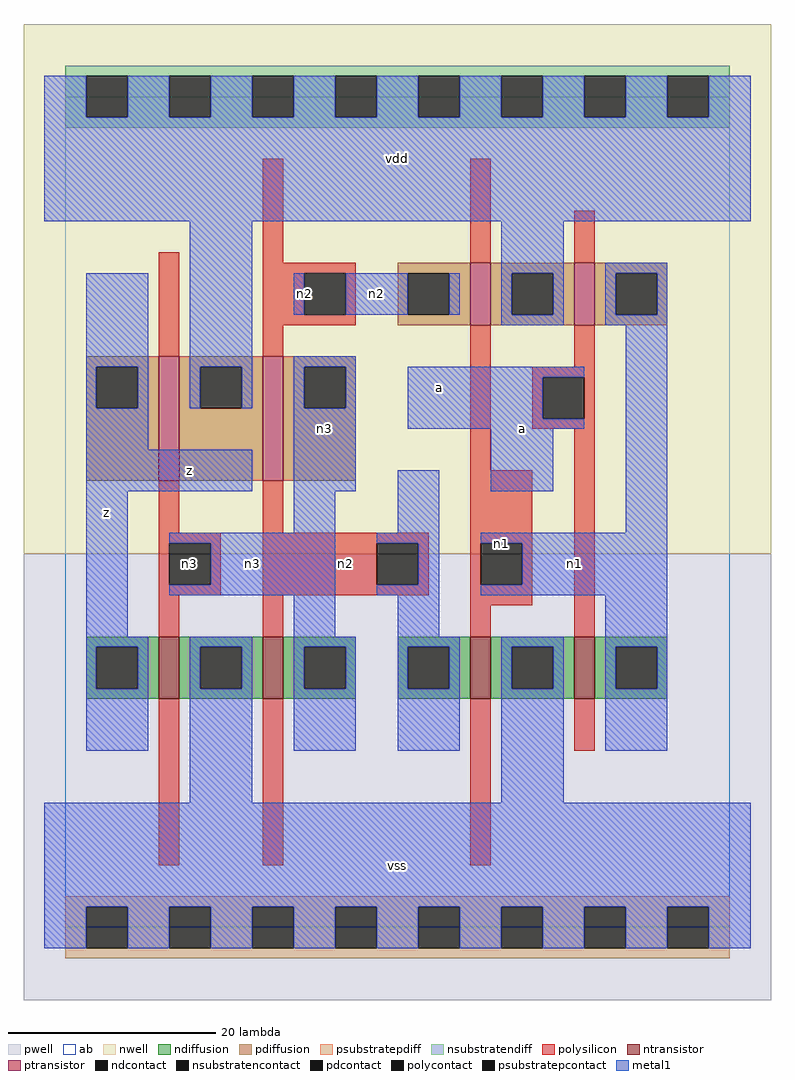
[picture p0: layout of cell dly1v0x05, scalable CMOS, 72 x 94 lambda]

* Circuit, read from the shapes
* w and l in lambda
.subckt dly1v0x05 a n1 n2 n3 vdd vss z
M1 vss n3 z vss nfet w=6 l=2
M2 n3 n2 vss vss nfet w=6 l=2
M3 vss n1 n2 vss nfet w=6 l=2
M4 n1 a vss vss nfet w=6 l=2
M5 vdd n3 z vdd pfet w=12 l=2
M6 n3 n2 vdd vdd pfet w=12 l=2
M7 vdd n1 n2 vdd pfet w=6 l=2
M8 n1 a vdd vdd pfet w=6 l=2
.ends

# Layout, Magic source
magic
tech scmos
<< ab >>
rect 0 0 64 80
<< pwell >>
rect -4 -7 68 36
<< nwell >>
rect -4 36 68 87
<< polysilicon >>
rect 9 55 11 65
rect 19 64 21 74
rect 39 64 41 74
rect 49 64 51 69
rect 19 63 28 64
rect 19 59 23 63
rect 27 59 28 63
rect 19 58 28 59
rect 19 55 21 58
rect 39 44 41 58
rect 49 54 51 58
rect 45 53 51 54
rect 45 49 46 53
rect 50 49 51 53
rect 45 48 51 49
rect 9 38 11 43
rect 19 38 21 43
rect 9 37 15 38
rect 9 33 10 37
rect 14 33 15 37
rect 9 32 15 33
rect 19 37 35 38
rect 19 33 30 37
rect 34 33 35 37
rect 19 32 35 33
rect 39 37 45 44
rect 39 33 40 37
rect 44 33 45 37
rect 9 28 11 32
rect 19 28 21 32
rect 39 31 45 33
rect 39 28 41 31
rect 49 28 51 48
rect 9 6 11 22
rect 19 6 21 22
rect 39 6 41 22
rect 49 17 51 22
<< ndiffusion >>
rect 2 27 9 28
rect 2 23 3 27
rect 7 23 9 27
rect 2 22 9 23
rect 11 27 19 28
rect 11 23 13 27
rect 17 23 19 27
rect 11 22 19 23
rect 21 27 28 28
rect 21 23 23 27
rect 27 23 28 27
rect 21 22 28 23
rect 32 27 39 28
rect 32 23 33 27
rect 37 23 39 27
rect 32 22 39 23
rect 41 27 49 28
rect 41 23 43 27
rect 47 23 49 27
rect 41 22 49 23
rect 51 27 58 28
rect 51 23 53 27
rect 57 23 58 27
rect 51 22 58 23
<< pdiffusion >>
rect 32 63 39 64
rect 32 59 33 63
rect 37 59 39 63
rect 32 58 39 59
rect 41 63 49 64
rect 41 59 43 63
rect 47 59 49 63
rect 41 58 49 59
rect 51 63 58 64
rect 51 59 53 63
rect 57 59 58 63
rect 51 58 58 59
rect 2 54 9 55
rect 2 50 3 54
rect 7 50 9 54
rect 2 43 9 50
rect 11 54 19 55
rect 11 50 13 54
rect 17 50 19 54
rect 11 43 19 50
rect 21 54 28 55
rect 21 50 23 54
rect 27 50 28 54
rect 21 43 28 50
<< metal1 >>
rect -2 78 2 82
rect 6 78 10 82
rect 14 78 18 82
rect 22 78 26 82
rect 30 78 34 82
rect 38 78 42 82
rect 46 78 50 82
rect 54 78 58 82
rect 62 78 66 82
rect -2 68 66 78
rect 2 54 8 63
rect 2 50 3 54
rect 7 50 8 54
rect 12 54 18 68
rect 42 63 48 68
rect 22 59 23 63
rect 27 59 33 63
rect 37 59 38 63
rect 42 59 43 63
rect 47 59 48 63
rect 42 58 48 59
rect 52 63 58 64
rect 52 59 53 63
rect 57 59 58 63
rect 52 58 58 59
rect 12 50 13 54
rect 17 50 18 54
rect 22 54 28 55
rect 22 50 23 54
rect 27 50 28 54
rect 2 46 8 50
rect 2 42 18 46
rect 22 42 28 50
rect 33 53 50 54
rect 33 49 46 53
rect 33 48 50 49
rect 2 28 6 42
rect 22 38 26 42
rect 32 38 36 44
rect 41 42 47 48
rect 54 38 58 58
rect 10 37 26 38
rect 14 33 26 37
rect 10 32 26 33
rect 30 37 36 38
rect 34 33 36 37
rect 30 32 36 33
rect 40 37 58 38
rect 44 33 58 37
rect 40 32 58 33
rect 22 28 26 32
rect 32 28 36 32
rect 2 27 8 28
rect 2 23 3 27
rect 7 23 8 27
rect 2 17 8 23
rect 12 27 18 28
rect 12 23 13 27
rect 17 23 18 27
rect 12 12 18 23
rect 22 27 28 28
rect 22 23 23 27
rect 27 23 28 27
rect 22 17 28 23
rect 32 27 38 28
rect 32 23 33 27
rect 37 23 38 27
rect 32 17 38 23
rect 42 27 48 28
rect 42 23 43 27
rect 47 23 48 27
rect 42 12 48 23
rect 52 27 58 32
rect 52 23 53 27
rect 57 23 58 27
rect 52 17 58 23
rect -2 2 66 12
rect -2 -2 2 2
rect 6 -2 10 2
rect 14 -2 18 2
rect 22 -2 26 2
rect 30 -2 34 2
rect 38 -2 42 2
rect 46 -2 50 2
rect 54 -2 58 2
rect 62 -2 66 2
<< ntransistor >>
rect 9 22 11 28
rect 19 22 21 28
rect 39 22 41 28
rect 49 22 51 28
<< ptransistor >>
rect 39 58 41 64
rect 49 58 51 64
rect 9 43 11 55
rect 19 43 21 55
<< polycontact >>
rect 23 59 27 63
rect 46 49 50 53
rect 10 33 14 37
rect 30 33 34 37
rect 40 33 44 37
<< ndcontact >>
rect 3 23 7 27
rect 13 23 17 27
rect 23 23 27 27
rect 33 23 37 27
rect 43 23 47 27
rect 53 23 57 27
<< pdcontact >>
rect 33 59 37 63
rect 43 59 47 63
rect 53 59 57 63
rect 3 50 7 54
rect 13 50 17 54
rect 23 50 27 54
<< psubstratepcontact >>
rect 2 -2 6 2
rect 10 -2 14 2
rect 18 -2 22 2
rect 26 -2 30 2
rect 34 -2 38 2
rect 42 -2 46 2
rect 50 -2 54 2
rect 58 -2 62 2
<< nsubstratencontact >>
rect 2 78 6 82
rect 10 78 14 82
rect 18 78 22 82
rect 26 78 30 82
rect 34 78 38 82
rect 42 78 46 82
rect 50 78 54 82
rect 58 78 62 82
<< psubstratepdiff >>
rect 0 2 64 3
rect 0 -2 2 2
rect 6 -2 10 2
rect 14 -2 18 2
rect 22 -2 26 2
rect 30 -2 34 2
rect 38 -2 42 2
rect 46 -2 50 2
rect 54 -2 58 2
rect 62 -2 64 2
rect 0 -3 64 -2
<< nsubstratendiff >>
rect 0 82 64 83
rect 0 78 2 82
rect 6 78 10 82
rect 14 78 18 82
rect 22 78 26 82
rect 30 78 34 82
rect 38 78 42 82
rect 46 78 50 82
rect 54 78 58 82
rect 62 78 64 82
rect 0 77 64 78
<< labels >>
rlabel polycontact 12 35 12 35 6 n3
rlabel polysilicon 27 35 27 35 6 n2
rlabel polysilicon 23 61 23 61 6 n2
rlabel polysilicon 42 37 42 37 6 n1
rlabel metal1 4 40 4 40 6 z
rlabel metal1 12 44 12 44 6 z
rlabel metal1 32 6 32 6 6 vss
rlabel metal1 18 35 18 35 6 n3
rlabel metal1 36 52 36 52 6 a
rlabel metal1 25 48 25 48 6 n3
rlabel metal1 30 61 30 61 6 n2
rlabel metal1 32 74 32 74 6 vdd
rlabel metal1 44 48 44 48 6 a
rlabel metal1 49 35 49 35 6 n1
<< end >>
